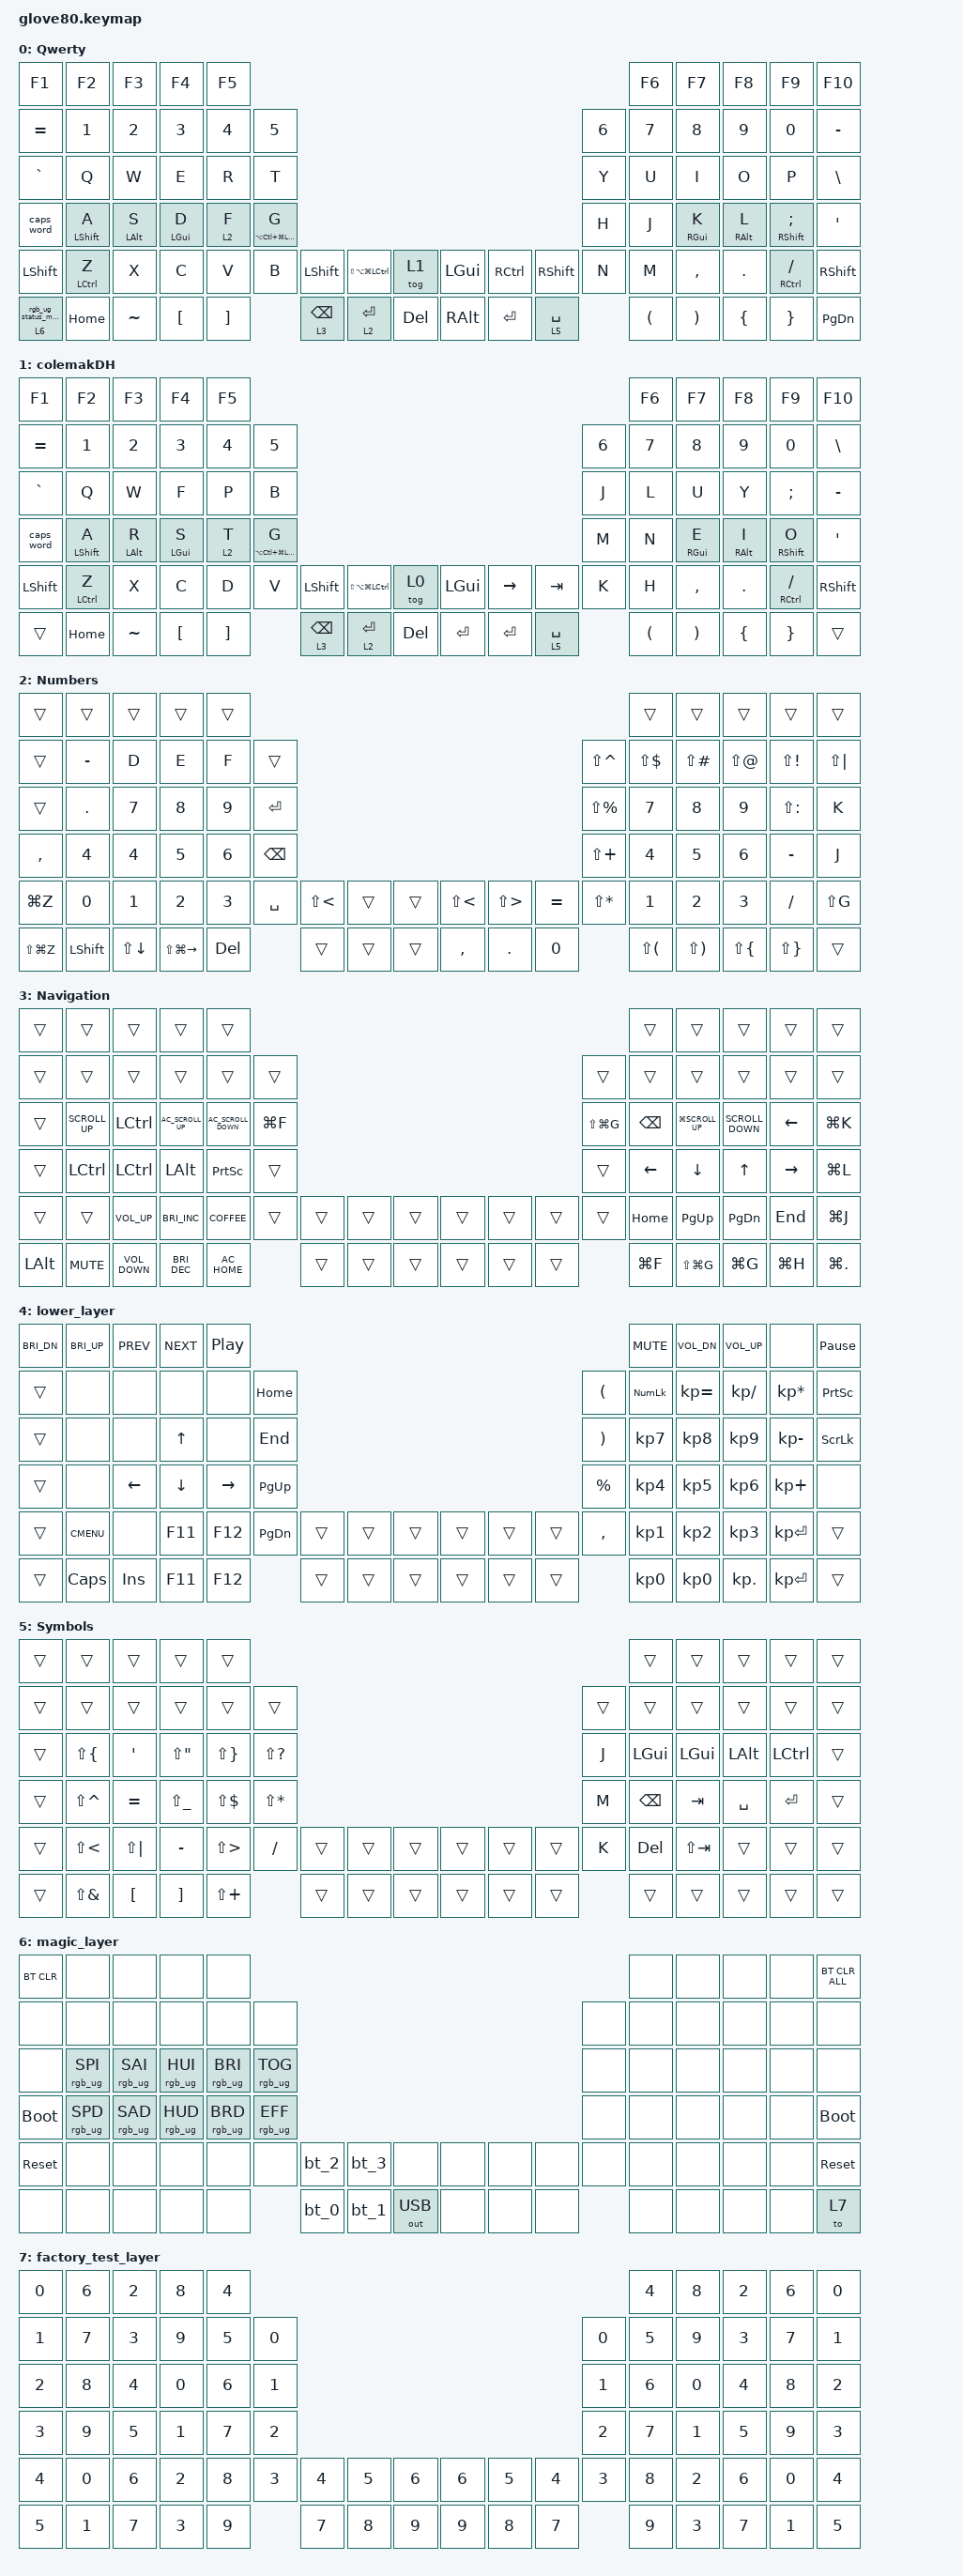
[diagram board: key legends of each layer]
/*
 * Copyright (c) 2020 The ZMK Contributors
 *
 * SPDX-License-Identifier: MIT
 */

#include <behaviors.dtsi>
#include <dt-bindings/zmk/bt.h>
#include <dt-bindings/zmk/keys.h>
#include <dt-bindings/zmk/outputs.h>
#include <dt-bindings/zmk/rgb.h>

#define HYPER LC(LS(LG(LALT)))

// layers

#define DEFAULT 0
#define LOWER 1
#define MAGIC 2
#define FACTORY_TEST 3

/ {
    behaviors {
        // For the "layer" key, it'd nice to be able to use it as either a shift or a toggle.
        // Configure it as a tap dance, so the first tap (or hold) is a &mo and the second tap is a &to

        layer_td: tap_dance_0 {
            compatible = "zmk,behavior-tap-dance";
            label = "LAYER_TAP_DANCE";
            #binding-cells = <0>;
            tapping-term-ms = <200>;
            bindings = <&lt 3 BACKSPACE>, <&kp BACKSPACE>;
        };

        magic: magic_hold_tap {
            compatible = "zmk,behavior-hold-tap";
            label = "MAGIC_HOLD_TAP";
            #binding-cells = <2>;
            flavor = "tap-preferred";
            tapping-term-ms = <200>;
            bindings = <&mo>, <&rgb_ug_status_macro>;
        };

        hm: hm {
            compatible = "zmk,behavior-hold-tap";
            label = "HM";
            bindings = <&kp>, <&kp>;

            #binding-cells = <2>;
            tapping-term-ms = <200>;
            quick-tap-ms = <200>;
            require-prior-idle-ms = <200>;
            flavor = "tap-preferred";
        };
    };

    macros {
        rgb_ug_status_macro: rgb_ug_status_macro_0 {
            label = "RGB_UG_STATUS";
            compatible = "zmk,behavior-macro";
            #binding-cells = <0>;
            bindings = <&rgb_ug RGB_STATUS>;
        };

        bt_0: bt_profile_macro_0 {
            label = "BT_0";
            compatible = "zmk,behavior-macro";
            #binding-cells = <0>;
            bindings = <&out OUT_BLE &bt BT_SEL 0>;
        };

        bt_1: bt_profile_macro_1 {
            label = "BT_1";
            compatible = "zmk,behavior-macro";
            #binding-cells = <0>;
            bindings = <&out OUT_BLE &bt BT_SEL 1>;
        };

        bt_2: bt_profile_macro_2 {
            label = "BT_2";
            compatible = "zmk,behavior-macro";
            #binding-cells = <0>;
            bindings = <&out OUT_BLE &bt BT_SEL 2>;
        };

        bt_3: bt_profile_macro_3 {
            label = "BT_3";
            compatible = "zmk,behavior-macro";
            #binding-cells = <0>;
            bindings = <&out OUT_BLE &bt BT_SEL 3>;
        };
    };

    combos {
        compatible = "zmk,combos";

        goBack {
            bindings = <&kp LG(Z)>;
            key-positions = <47 48>;
            layers = <0 1>;
        };

        copy {
            bindings = <&kp LG(C)>;
            key-positions = <48 49>;
            layers = <0 1>;
        };

        paste {
            bindings = <&kp LG(V)>;
            key-positions = <49 50>;
            layers = <0 1>;
        };

        space {
            bindings = <&kp SPACE>;
            key-positions = <50 51>;
            layers = <0 1>;
        };

        Esc {
            bindings = <&kp ESCAPE>;
            key-positions = <36 37>;
            layers = <0 1>;
        };

        Tab {
            bindings = <&kp TAB>;
            key-positions = <37 38>;
            layers = <0 1>;
        };

        Exclamation {
            bindings = <&kp EXCLAMATION>;
            key-positions = <24 25>;
            layers = <0 1>;
        };

        At {
            bindings = <&kp AT_SIGN>;
            key-positions = <25 26>;
            layers = <0 1>;
        };

        Quote {
            bindings = <&kp DOUBLE_QUOTES>;
            key-positions = <29 30>;
            layers = <0 1>;
        };

        Cut {
            bindings = <&kp LG(X)>;
            key-positions = <48 50>;
            layers = <0 1>;
        };

        SingleQuote {
            bindings = <&kp SINGLE_QUOTE>;
            key-positions = <30 31>;
            layers = <0 1>;
        };

        Equal {
            bindings = <&kp EQUAL>;
            key-positions = <41 43>;
            layers = <0 1>;
        };

        Dash {
            bindings = <&kp MINUS>;
            key-positions = <41 42>;
            layers = <0 1>;
        };

        UnderScore {
            bindings = <&kp UNDERSCORE>;
            key-positions = <42 43>;
            layers = <0 1>;
        };
    };

    keymap {
        compatible = "zmk,keymap";

        Qwerty {
            // ---------------------------------------------------------------------------------------------------------------------------------
            // |  F1   |  F2 |  F3 |  F4  |  F5  |                                                               |  F6   |  F7   |  F8  |   F9  |  F10 |
            // |  =    |  1  |  2  |  3   |  4   |  5   |                                                 |  6   |   7   |   8   |  9   |   0   |   -  |
            // |  TAB  |  Q  |  W  |  E   |  R   |  T   |                                                 |  Y   |   U   |   I   |  O   |   P   |   \  |
            // |  ESC  |  A  |  S  |  D   |  F   |  G   |                                                 |  H   |   J   |   K   |  L   |   ;   |   '  |
            // |   `   |  Z  |  X  |  C   |  V   |  B   | LSHFT | LCTRL | LOWER | | LGUI  | RCTRL | RSHFT |  N   |   M   |   ,   |  .   |   /   | PGUP |
            // | MAGIC | HOME| END | LEFT | RIGHT|      | BSPC  | DEL   | LALT  | | RALT  | RET   | SPACE |      |  UP   | DOWN  |  [   |   ]   | PGDN |

            bindings = <
&kp F1      &kp F2        &kp F3          &kp F4            &kp F5                                                                                                                                    &kp F6                &kp F7                 &kp F8           &kp F9                  &kp F10
&kp EQUAL   &kp N1        &kp N2          &kp N3            &kp N4             &kp N5                                                                                                         &kp N6  &kp N7                &kp N8                 &kp N9           &kp N0                  &kp MINUS
&kp GRAVE   &kp Q         &kp W           &kp E             &kp R              &kp T                                                                                                          &kp Y   &kp U                 &kp I                  &kp O            &kp P                   &kp BSLH
&caps_word  &hm LSHIFT A  &hm LEFT_ALT S  &hm LEFT_GUI D    &lt 2 F            &hm LA(LC(LG(LSHFT))) G                                                                                        &kp H   &kp J                 &hm RIGHT_GUI K        &hm RIGHT_ALT L  &hm RSHIFT SEMICOLON    &kp SQT
&kp LSHIFT  &hm LCTRL Z   &kp X           &kp C             &kp V              &kp B                    &kp LSHFT        &kp LS(LA(LG(LCTRL)))  &tog 1      &kp LGUI  &kp RCTRL  &kp RSHFT    &kp N   &kp M                 &kp COMMA              &kp DOT          &hm RIGHT_CONTROL FSLH  &kp RIGHT_SHIFT
&magic 6 0  &kp HOME      &kp TILDE       &kp LEFT_BRACKET  &kp RIGHT_BRACKET                           &lt 3 BACKSPACE  &lt 2 ENTER            &kp DELETE  &kp RALT  &kp RET    &lt 5 SPACE          &kp LEFT_PARENTHESIS  &kp RIGHT_PARENTHESIS  &kp LEFT_BRACE   &kp RIGHT_BRACE         &kp PG_DN
            >;
        };

        colemakDH {
            bindings = <
&kp F1      &kp F2        &kp F3      &kp F4          &kp F5                                                                                                                         &kp F6                &kp F7                 &kp F8      &kp F9           &kp F10
&kp EQUAL   &kp N1        &kp N2      &kp N3          &kp N4    &kp N5                                                                                                       &kp N6  &kp N7                &kp N8                 &kp N9      &kp N0           &kp BSLH
&kp GRAVE   &kp Q         &kp W       &kp F           &kp P     &kp B                                                                                                        &kp J   &kp L                 &kp U                  &kp Y       &kp SEMI         &kp MINUS
&caps_word  &hm LSHIFT A  &hm LALT R  &hm LEFT_GUI S  &lt 2 T   &hm LA(LC(LG(LSHIFT))) G                                                                                     &kp M   &kp N                 &hm RIGHT_GUI E        &hm RALT I  &hm RSHFT O      &kp SQT
&kp LSHFT   &hm LCTRL Z   &kp X       &kp C           &kp D     &kp V                     &kp LSHFT        &kp LS(LA(LG(LCTRL)))  &tog 0   &kp LGUI  &kp RIGHT  &kp TAB      &kp K   &kp H                 &kp COMMA              &kp DOT     &hm RCTRL FSLH   &kp RSHFT
&trans      &kp HOME      &kp TILDE   &kp LBKT        &kp RBKT                            &lt 3 BACKSPACE  &lt 2 ENTER            &kp DEL  &kp RET   &kp RET    &lt 5 SPACE          &kp LEFT_PARENTHESIS  &kp RIGHT_PARENTHESIS  &kp LBRC    &kp RIGHT_BRACE  &trans
            >;
        };

        Numbers {
            bindings = <
&trans         &trans     &trans        &trans             &trans                                                                                            &trans        &trans         &trans        &trans         &trans
&trans         &kp MINUS  &kp D         &kp E              &kp F    &trans                                                                    &kp LS(CARET)  &kp LS(DLLR)  &kp LS(POUND)  &kp LS(AT)    &kp LS(EXCL)   &kp LS(PIPE)
&trans         &kp DOT    &kp N7        &kp N8             &kp N9   &kp RET                                                                   &kp LS(PRCNT)  &kp N7        &kp N8         &kp N9        &kp LS(COLON)  &kp K
&kp COMMA      &kp N4     &kp N4        &kp N5             &kp N6   &kp BSPC                                                                  &kp LS(PLUS)   &kp N4        &kp N5         &kp N6        &kp MINUS      &kp J
&kp LG(Z)      &kp N0     &kp N1        &kp N2             &kp N3   &kp SPACE  &kp LS(LT)  &trans  &trans  &kp LS(LT)  &kp LS(GT)  &kp EQUAL  &kp LS(STAR)   &kp N1        &kp N2         &kp N3        &kp FSLH       &kp LS(G)
&kp LS(LG(Z))  &kp LSHFT  &kp LS(DOWN)  &kp LS(LG(RIGHT))  &kp DEL             &trans      &trans  &trans  &kp COMMA   &kp DOT     &kp N0                    &kp LS(LPAR)  &kp LS(RPAR)   &kp LS(LBRC)  &kp LS(RBRC)   &trans
            >;
        };

        Navigation {
            bindings = <
&trans    &trans           &trans             &trans                &trans                                                                                          &trans     &trans               &trans             &trans     &trans
&trans    &trans           &trans             &trans                &trans                &trans                                                     &trans         &trans     &trans               &trans             &trans     &trans
&trans    &kp K_SCROLL_UP  &kp LCTRL          &kp C_AC_SCROLL_UP    &kp C_AC_SCROLL_DOWN  &kp LG(F)                                                  &kp LS(LG(G))  &kp BSPC   &kp LG(K_SCROLL_UP)  &kp K_SCROLL_DOWN  &kp LEFT   &kp LG(K)
&trans    &kp LCTRL        &kp LCTRL          &kp LALT              &kp PRINTSCREEN       &trans                                                     &trans         &kp LEFT   &kp DOWN             &kp UP             &kp RIGHT  &kp LG(L)
&trans    &trans           &kp C_VOLUME_UP    &kp C_BRIGHTNESS_INC  &kp K_COFFEE          &trans     &trans  &trans  &trans  &trans  &trans  &trans  &trans         &kp HOME   &kp PG_UP            &kp PG_DN          &kp END    &kp LG(J)
&kp LALT  &kp K_MUTE       &kp C_VOLUME_DOWN  &kp C_BRI_DEC         &kp C_AC_HOME                    &trans  &trans  &trans  &trans  &trans  &trans                 &kp LG(F)  &kp LS(LG(G))        &kp LG(G)          &kp LG(H)  &kp LG(DOT)
            >;
        };

        lower_layer {
            bindings = <
&kp C_BRI_DN  &kp C_BRI_UP  &kp C_PREV  &kp C_NEXT  &kp C_PP                                                                         &kp C_MUTE  &kp C_VOL_DN  &kp C_VOL_UP   &none            &kp PAUSE_BREAK
&trans        &none         &none       &none       &none      &kp HOME                                                   &kp LPAR   &kp KP_NUM  &kp KP_EQUAL  &kp KP_DIVIDE  &kp KP_MULTIPLY  &kp PSCRN
&trans        &none         &none       &kp UP      &none      &kp END                                                    &kp RPAR   &kp KP_N7   &kp KP_N8     &kp KP_N9      &kp KP_MINUS     &kp SLCK
&trans        &none         &kp LEFT    &kp DOWN    &kp RIGHT  &kp PG_UP                                                  &kp PRCNT  &kp KP_N4   &kp KP_N5     &kp KP_N6      &kp KP_PLUS      &none
&trans        &kp K_CMENU   &none       &kp F11     &kp F12    &kp PG_DN  &trans  &trans  &trans  &trans  &trans  &trans  &kp COMMA  &kp KP_N1   &kp KP_N2     &kp KP_N3      &kp KP_ENTER     &trans
&trans        &kp CAPS      &kp INS     &kp F11     &kp F12               &trans  &trans  &trans  &trans  &trans  &trans             &kp KP_N0   &kp KP_N0     &kp KP_DOT     &kp KP_ENTER     &trans
            >;
        };

        Symbols {
            bindings = <
&trans  &trans         &trans        &trans         &trans                                                                               &trans    &trans       &trans     &trans     &trans
&trans  &trans         &trans        &trans         &trans        &trans                                                         &trans  &trans    &trans       &trans     &trans     &trans
&trans  &kp LS(LBRC)   &kp SQT       &kp LS(DQT)    &kp LS(RBRC)  &kp LS(QMARK)                                                  &kp J   &kp LGUI  &kp LGUI     &kp LALT   &kp LCTRL  &trans
&trans  &kp LS(CARET)  &kp EQUAL     &kp LS(UNDER)  &kp LS(DLLR)  &kp LS(STAR)                                                   &kp M   &kp BSPC  &kp TAB      &kp SPACE  &kp RET    &trans
&trans  &kp LS(LT)     &kp LS(PIPE)  &kp MINUS      &kp LS(GT)    &kp FSLH       &trans  &trans  &trans  &trans  &trans  &trans  &kp K   &kp DEL   &kp LS(TAB)  &trans     &trans     &trans
&trans  &kp LS(AMPS)   &kp LBKT      &kp RBKT       &kp LS(PLUS)                 &trans  &trans  &trans  &trans  &trans  &trans          &trans    &trans       &trans     &trans     &trans
            >;
        };

        magic_layer {
            bindings = <
&bt BT_CLR   &none            &none            &none            &none                                                                                     &none  &none  &none  &none  &bt BT_CLR_ALL
&none        &none            &none            &none            &none            &none                                                             &none  &none  &none  &none  &none  &none
&none        &rgb_ug RGB_SPI  &rgb_ug RGB_SAI  &rgb_ug RGB_HUI  &rgb_ug RGB_BRI  &rgb_ug RGB_TOG                                                   &none  &none  &none  &none  &none  &none
&bootloader  &rgb_ug RGB_SPD  &rgb_ug RGB_SAD  &rgb_ug RGB_HUD  &rgb_ug RGB_BRD  &rgb_ug RGB_EFF                                                   &none  &none  &none  &none  &none  &bootloader
&sys_reset   &none            &none            &none            &none            &none            &bt_2  &bt_3  &none         &none  &none  &none  &none  &none  &none  &none  &none  &sys_reset
&none        &none            &none            &none            &none                             &bt_0  &bt_1  &out OUT_USB  &none  &none  &none         &none  &none  &none  &none  &to 7
            >;
        };

        factory_test_layer {
            bindings = <
&kp N0  &kp N6  &kp N2  &kp N8  &kp N4                                                                  &kp N4  &kp N8  &kp N2  &kp N6  &kp N0
&kp N1  &kp N7  &kp N3  &kp N9  &kp N5  &kp N0                                                  &kp N0  &kp N5  &kp N9  &kp N3  &kp N7  &kp N1
&kp N2  &kp N8  &kp N4  &kp N0  &kp N6  &kp N1                                                  &kp N1  &kp N6  &kp N0  &kp N4  &kp N8  &kp N2
&kp N3  &kp N9  &kp N5  &kp N1  &kp N7  &kp N2                                                  &kp N2  &kp N7  &kp N1  &kp N5  &kp N9  &kp N3
&kp N4  &kp N0  &kp N6  &kp N2  &kp N8  &kp N3  &kp N4  &kp N5  &kp N6  &kp N6  &kp N5  &kp N4  &kp N3  &kp N8  &kp N2  &kp N6  &kp N0  &kp N4
&kp N5  &kp N1  &kp N7  &kp N3  &kp N9          &kp N7  &kp N8  &kp N9  &kp N9  &kp N8  &kp N7          &kp N9  &kp N3  &kp N7  &kp N1  &kp N5
            >;
        };
    };
};
